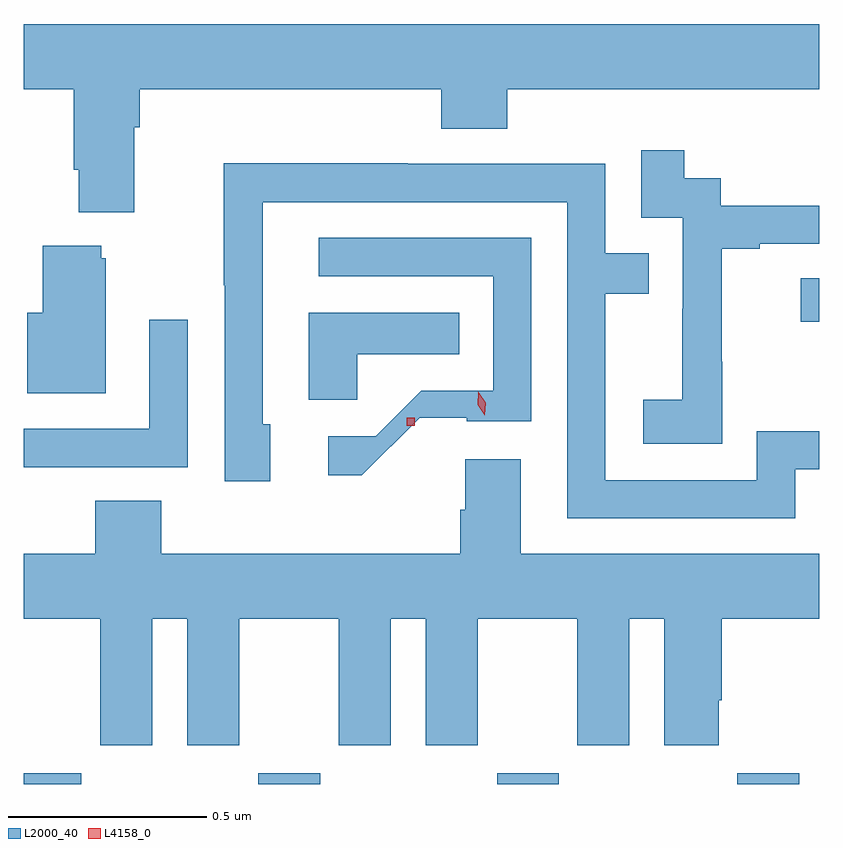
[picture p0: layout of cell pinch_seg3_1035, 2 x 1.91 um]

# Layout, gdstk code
import gdstk
lib = gdstk.Library(unit=1e-6, precision=1e-09)
def R(c, l, rs):  # rectangles x0, y0, x1, y1
    for r in rs: c.add(gdstk.rectangle(r[:2], r[2:], *l))
def P(c, l, *ps):  # polygons
    for p in ps: c.add(gdstk.Polygon(p, *l))
L2000_40 = (2000, 40)
L4158_0 = (4158, 0)

pinch_seg3_1035 = lib.new_cell('pinch_seg3_1035')
R(pinch_seg3_1035, L2000_40, [(497.867,699.169,498.012,699.196), (498.457,699.169,498.612,699.196), (499.057,699.169,499.212,699.196), (499.661,699.169,499.817,699.196), (499.821,700.331,499.867,700.441)])
P(pinch_seg3_1035, L2000_40, [(498.145,700.82),(498.158,700.82),(498.158,700.916),(498.917,700.916),(498.917,700.817),(499.082,700.817),(499.082,700.916),(499.867,700.916),(499.867,701.08),(497.867,701.08),(497.867,700.916),(497.993,700.916),(497.993,700.714),(498.005,700.714),(498.005,700.607),(498.145,700.607)],
  [(499.623,700.231),(499.622,700.231),(499.622,700.515),(499.717,700.515),(499.717,700.527),(499.867,700.527),(499.867,700.623),(499.62,700.623),(499.62,700.692),(499.528,700.692),(499.528,700.762),(499.419,700.762),(499.419,700.593),(499.524,700.593),(499.524,700.364),(499.523,700.364),(499.523,700.135),(499.425,700.135),(499.425,700.025),(499.623,700.025)],
  [(499.807,699.96),(499.867,699.96),(499.867,700.056),(499.71,700.056),(499.71,699.933),(499.329,699.933),(499.329,700.402),(499.439,700.402),(499.439,700.503),(499.329,700.503),(499.329,700.728),(498.833,700.728),(498.833,700.73),(498.37,700.73),(498.37,700.423),(498.372,700.423),(498.372,699.93),(498.487,699.93),(498.487,700.074),(498.468,700.074),(498.468,700.632),(499.233,700.632),(499.233,699.837),(499.807,699.837)],
  [(498.862,700.09),(498.981,700.09),(498.981,700.081),(499.143,700.081),(499.143,700.542),(498.609,700.542),(498.609,700.446),(499.047,700.446),(499.047,700.158),(498.866,700.158),(498.752,700.044),(498.633,700.044),(498.633,699.945),(498.717,699.945)],
  [(498.073,700.491),(498.062,700.491),(498.062,700.522),(497.915,700.522),(497.915,700.354),(497.876,700.354),(497.876,700.151),(498.073,700.151)],
  [(498.705,700.25),(498.962,700.25),(498.962,700.354),(498.584,700.354),(498.584,700.135),(498.705,700.135)],
  [(497.963,699.966),(498.279,699.966),(498.279,700.336),(498.183,700.336),(498.183,700.062),(497.867,700.062),(497.867,699.965),(497.963,699.965)],
  [(498.19,699.584),(498.278,699.584),(498.278,699.267),(498.409,699.267),(498.409,699.584),(498.659,699.584),(498.659,699.267),(498.79,699.267),(498.79,699.584),(498.878,699.584),(498.878,699.267),(499.009,699.267),(499.009,699.584),(499.259,699.584),(499.259,699.267),(499.39,699.267),(499.39,699.584),(499.478,699.584),(499.478,699.267),(499.615,699.267),(499.615,699.379),(499.622,699.379),(499.622,699.584),(499.867,699.584),(499.867,699.748),(499.117,699.748),(499.117,699.985),(498.977,699.985),(498.977,699.858),(498.965,699.858),(498.965,699.748),(498.212,699.748),(498.212,699.881),(498.047,699.881),(498.047,699.748),(497.867,699.748),(497.867,699.584),(498.059,699.584),(498.059,699.267),(498.19,699.267)])
R(pinch_seg3_1035, L4158_0, [(498.83,700.07,498.85,700.09)])
P(pinch_seg3_1035, L4158_0, [(499.026,700.096),(499.026,700.096),(499.009,700.123),(499.01,700.155),(499.01,700.155),(499.01,700.155),(499.028,700.128),(499.026,700.096)])

lib.write_gds('pinch_seg3_1035.gds')
